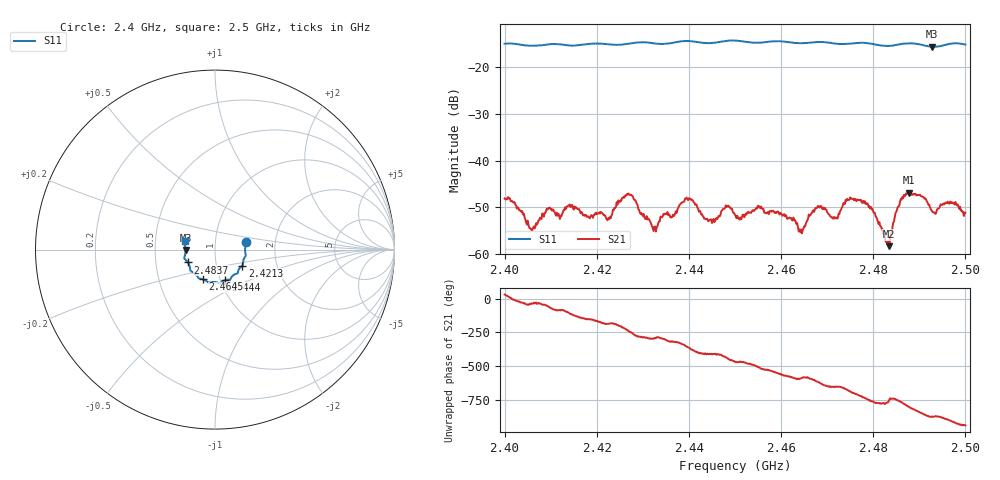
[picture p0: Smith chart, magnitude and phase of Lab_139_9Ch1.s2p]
# Hz S RI R 50
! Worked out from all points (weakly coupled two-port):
!   601 points, 2.4 GHz to 2.5 GHz, reference 50 ohm
!   highest |S21| = -46.82 dB at 2.4878 GHz (marker M1); lowest = -58.3 dB at 2.4835 GHz (marker M2)
!   lowest |S11| = -15.7 dB at 2.4928 GHz (marker M3), VSWR 1.39, Z = 36 - j0.366 ohm
!   |S11| at or under -10 dB: start of sweep to end of sweep
!   S12 and S22 are empty: the file has one direction only
!   S11 on the Smith chart (normalised r, x): 2.4 GHz: 1.41, +0.12; 2.4213 GHz: 1.33, -0.25; 2.444 GHz: 1.06, -0.37; 2.4645 GHz: 0.83, -0.29; 2.4837 GHz: 0.73, -0.11; 2.5 GHz: 0.71, +0.07
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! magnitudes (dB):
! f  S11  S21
! 2.4 GHz  -15.1  -48.1
! 2.406 GHz  -15.5  -54.9
! 2.4095 GHz  -15.2  -50.1
! 2.4167 GHz  -15.3  -51.0
! 2.4213 GHz  -15.1  -51.4
! 2.427 GHz  -15.1  -47.2
! 2.4333 GHz  -15.1  -53.4
! 2.4397 GHz  -14.5  -48.2
! 2.444 GHz  -15.0  -52.4
! 2.45 GHz  -14.4  -51.6
! 2.4555 GHz  -14.8  -50.2
! 2.4645 GHz  -15.0  -55.5
! 2.4667 GHz  -14.8  -51.2
! 2.4718 GHz  -15.1  -52.2
! 2.477 GHz  -14.9  -48.4
! 2.4833 GHz  -15.6  -57.3
! 2.4835 GHz  -15.5  -58.3
! 2.4837 GHz  -15.5  -56.5
! 2.4858 GHz  -15.2  -48.7
! 2.4878 GHz  -15.0  -46.8
! 2.4928 GHz  -15.7  -50.9
! 2.5 GHz  -15.3  -51.2
